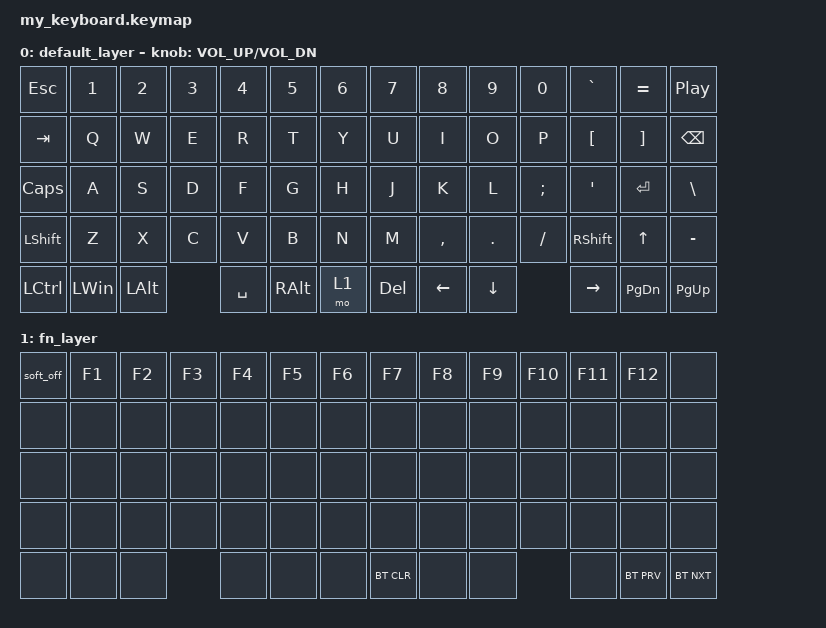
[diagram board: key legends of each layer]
#include <behaviors.dtsi>
#include <dt-bindings/zmk/bt.h>
#include <dt-bindings/zmk/keys.h>

/ {
    keymap {
        compatible = "zmk,keymap";

        default_layer {
            bindings = <
            &kp ESC       &kp N1        &kp N2   &kp N3    &kp N4    &kp N5   &kp N6  &kp N7  &kp N8     &kp N9      &kp N0         &kp GRAVE   &kp EQUAL  &kp C_PP
            &kp TAB       &kp Q         &kp W    &kp E     &kp R     &kp T    &kp Y   &kp U   &kp I      &kp O       &kp P          &kp LBKT    &kp RBKT   &kp BSPC
            &kp CAPSLOCK  &kp A         &kp S    &kp D     &kp F     &kp G    &kp H   &kp J   &kp K      &kp L       &kp SEMICOLON  &kp SQT     &kp ENTER  &kp BSLH
            &kp LSHIFT    &kp Z         &kp X    &kp C     &kp V     &kp B    &kp N   &kp M   &kp COMMA  &kp PERIOD  &kp SLASH      &kp RSHIFT  &kp UP     &kp MINUS
            &kp LCTRL     &kp LEFT_WIN  &kp LALT           &kp SPACE &kp RALT &mo 1   &kp DEL &kp LEFT   &kp DOWN                   &kp RIGHT   &kp PG_DN  &kp PG_UP
            >;

            sensor-bindings = <&inc_dec_kp C_VOL_UP C_VOL_DN>;
        };


        fn_layer {
            bindings = <
            &soft_off     &kp F1        &kp F2   &kp F3    &kp F4    &kp F5   &kp F6  &kp F7       &kp F8     &kp F9      &kp F10        &kp F11     &kp F12         &none
            &none         &none         &none    &none     &none     &none    &none   &none        &none      &none       &none          &none       &none           &none
            &none         &none         &none    &none     &none     &none    &none   &none        &none      &none       &none          &none       &none           &none
            &none         &none         &none    &none     &none     &none    &none   &none        &none      &none       &none          &none       &none           &none
            &none         &none         &none              &none     &none    &none   &bt BT_CLR   &none      &none                      &none       &bt BT_PRV      &bt BT_NXT
            >;
        };

};
};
